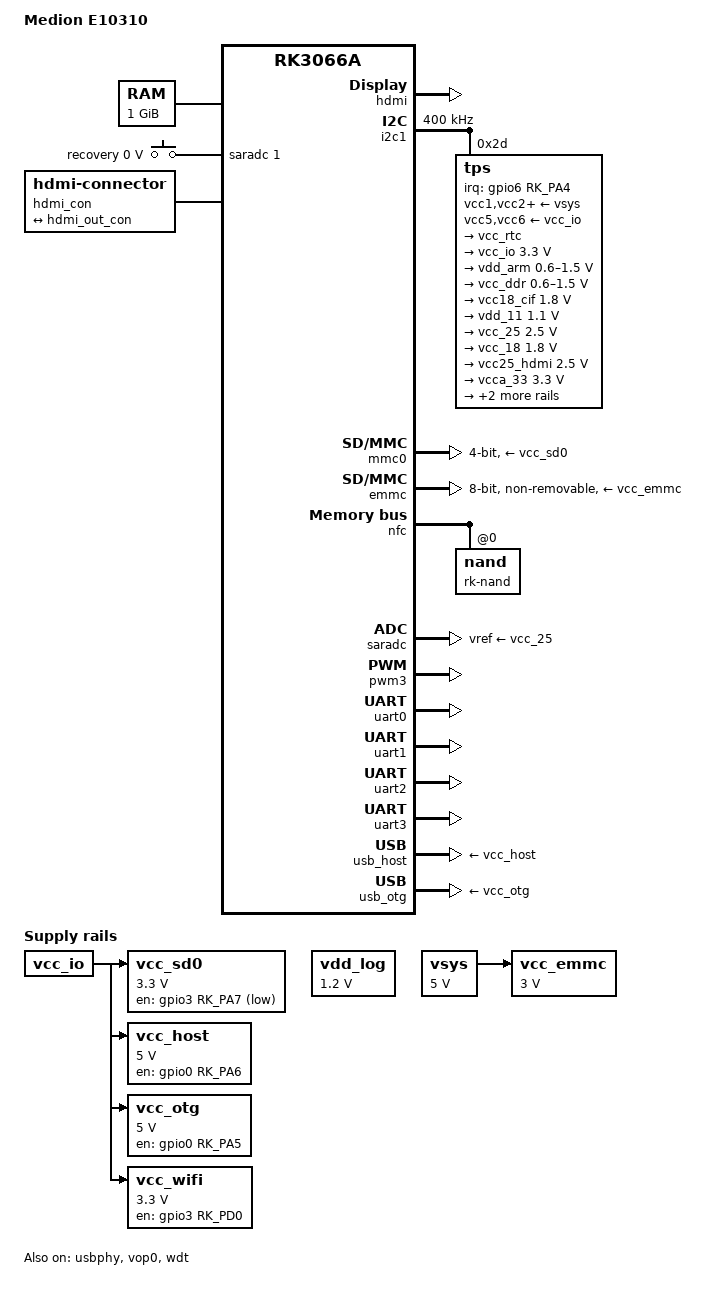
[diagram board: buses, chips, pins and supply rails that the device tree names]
// SPDX-License-Identifier: (GPL-2.0+ OR MIT)
/*
 * Copyright (c) 2014 Romain Perier <romain.perier@gmail.com>
 */

/dts-v1/;
#include "rk3066a.dtsi"

/ {
	model = "Medion E10310";
	compatible = "Medion,E10310", "rockchip,rk3066a";

	aliases {
		mmc0 = &mmc0;
		emmc = &emmc;
	};
	
	chosen {
		stdout-path = "serial2:115200n8";
	};

	memory@60000000 {
		reg = <0x60000000 0x40000000>;
		device_type = "memory";
	};
	
	adc-keys {
		compatible = "adc-keys";
		io-channels = <&saradc 1>;
		io-channel-names = "buttons";
		keyup-threshold-microvolt = <2500000>;
		poll-interval = <100>;

		recovery {
			label = "recovery";
			press-threshold-microvolt = <0>;
		};
	};
	
	hdmi_con {
		compatible = "hdmi-connector";
		type = "c";

		port {
			hdmi_con_in: endpoint {
				remote-endpoint = <&hdmi_out_con>;
			};
		};
	};

	vdd_log: vdd-log {
		compatible = "pwm-regulator";
		pwms = <&pwm3 0 1000>;
		regulator-name = "vdd_log";
		regulator-min-microvolt = <1200000>;
		regulator-max-microvolt = <1200000>;
		regulator-always-on;
		voltage-table = <1000000 100>, <1200000 42>;
		status = "okay";
	};

	vsys: vsys-regulator {
		compatible = "regulator-fixed";
		regulator-name = "vsys";
		regulator-min-microvolt = <5000000>;
		regulator-max-microvolt = <5000000>;
		regulator-boot-on;
	};

	vcc_sd0: sdmmc-regulator {
		compatible = "regulator-fixed";
		regulator-name = "sdmmc-supply";
		regulator-min-microvolt = <3300000>;
		regulator-max-microvolt = <3300000>;
		gpio = <&gpio3 RK_PA7 GPIO_ACTIVE_LOW>;
		pinctrl-0 = <&sdmmc_pwr>;
		startup-delay-us = <100000>;
		vin-supply = <&vcc_io>;
	};

	vcc_emmc: emmc-regulator {
		compatible = "regulator-fixed";
		regulator-name = "emmc_vccq";
		regulator-min-microvolt = <3000000>;
		regulator-max-microvolt = <3000000>;
		vin-supply = <&vsys>;
	};
	
	vcc_host: usb-host-regulator {
		compatible = "regulator-fixed";
		enable-active-high;
		gpio = <&gpio0 RK_PA6 GPIO_ACTIVE_HIGH>;
		pinctrl-0 = <&host_drv>;
		pinctrl-names = "default";
		regulator-always-on;
		regulator-name = "host-pwr";
		regulator-min-microvolt = <5000000>;
		regulator-max-microvolt = <5000000>;
		startup-delay-us = <100000>;
		vin-supply = <&vcc_io>;
	};

	vcc_otg: usb-otg-regulator {
		compatible = "regulator-fixed";
		enable-active-high;
		gpio = <&gpio0 RK_PA5 GPIO_ACTIVE_HIGH>;
		pinctrl-0 = <&otg_drv>;
		pinctrl-names = "default";
		regulator-always-on;
		regulator-name = "vcc_otg";
		regulator-min-microvolt = <5000000>;
		regulator-max-microvolt = <5000000>;
		startup-delay-us = <100000>;
		vin-supply = <&vcc_io>;
	};

	vcc_wifi: sdio-regulator {
		compatible = "regulator-fixed";
		enable-active-high;
		gpio = <&gpio3 RK_PD0 GPIO_ACTIVE_HIGH>;
		pinctrl-0 = <&wifi_pwr>;
		pinctrl-names = "default";
		regulator-name = "vcc_wifi";
		regulator-min-microvolt = <3300000>;
		regulator-max-microvolt = <3300000>;
		startup-delay-us = <100000>;
		vin-supply = <&vcc_io>;
	};
};

&hdmi {
	status = "okay";
};

&hdmi_in_vop1 {
	status = "disabled";
};

&hdmi_out {
	hdmi_out_con: endpoint {
		remote-endpoint = <&hdmi_con_in>;
	};
};

&cpu0 {
	cpu-supply = <&vdd_arm>;
};

&cpu1 {
	cpu-supply = <&vdd_arm>;
};

&i2c1 {
	status = "okay";
	clock-frequency = <400000>;

	tps: tps@2d {
		reg = <0x2d>;

		interrupt-parent = <&gpio6>;
		interrupts = <RK_PA4 IRQ_TYPE_LEVEL_LOW>;

		vcc1-supply = <&vsys>;
		vcc2-supply = <&vsys>;
		vcc3-supply = <&vsys>;
		vcc4-supply = <&vsys>;
		vcc5-supply = <&vcc_io>;
		vcc6-supply = <&vcc_io>;
		vcc7-supply = <&vsys>;
		vccio-supply = <&vsys>;

		regulators {
			vcc_rtc: regulator@0 {
				regulator-name = "vcc_rtc";
				regulator-always-on;
			};

			vcc_io: regulator@1 {
				regulator-name = "vcc_io";
				regulator-min-microvolt = <3300000>;
				regulator-max-microvolt = <3300000>;
				regulator-always-on;
			};

			vdd_arm: regulator@2 {
				regulator-name = "vdd_arm";
				regulator-min-microvolt = <600000>;
				regulator-max-microvolt = <1500000>;
				regulator-boot-on;
				regulator-always-on;
			};

			vcc_ddr: regulator@3 {
				regulator-name = "vcc_ddr";
				regulator-min-microvolt = <600000>;
				regulator-max-microvolt = <1500000>;
				regulator-boot-on;
				regulator-always-on;
			};

			vcc18_cif: regulator@5 {
				regulator-name = "vcc18_cif";
				regulator-min-microvolt = <1800000>;
				regulator-max-microvolt = <1800000>;
				regulator-always-on;
			};

			vdd_11: regulator@6 {
				regulator-name = "vdd_11";
				regulator-min-microvolt = <1100000>;
				regulator-max-microvolt = <1100000>;
				regulator-always-on;
			};

			vcc_25: regulator@7 {
				regulator-name = "vcc_25";
				regulator-min-microvolt = <2500000>;
				regulator-max-microvolt = <2500000>;
				regulator-always-on;
			};

			vcc_18: regulator@8 {
				regulator-name = "vcc_18";
				regulator-min-microvolt = <1800000>;
				regulator-max-microvolt = <1800000>;
				regulator-always-on;
			};

			vcc25_hdmi: regulator@9 {
				regulator-name = "vcc25_hdmi";
				regulator-min-microvolt = <2500000>;
				regulator-max-microvolt = <2500000>;
				regulator-always-on;
			};

			vcca_33: regulator@10 {
				regulator-name = "vcca_33";
				regulator-min-microvolt = <3300000>;
				regulator-max-microvolt = <3300000>;
				regulator-always-on;
			};

			vcc_rmii: regulator@11 {
				regulator-name = "vcc_rmii";
				regulator-min-microvolt = <3300000>;
				regulator-max-microvolt = <3300000>;
			};

			vcc28_cif: regulator@12 {
				regulator-name = "vcc28_cif";
				regulator-min-microvolt = <2800000>;
				regulator-max-microvolt = <2800000>;
				regulator-always-on;
			};
		};
	};
};

/* must be included after &tps gets defined */
#include "tps65910.dtsi"

&mmc0 {
	status = "okay";
	bus-width = <4>;
	pinctrl-names = "default";
	pinctrl-0 = <&sd0_clk>, <&sd0_cmd>, <&sd0_cd>, <&sd0_bus4>;
	vmmc-supply = <&vcc_sd0>;
};

&emmc {
	status = "okay";
	bus-width = <8>;
	cap-mmc-highspeed;
	non-removable;
	pinctrl-names = "default";
	pinctrl-0 = <&emmc_clk>, <&emmc_cmd>, <&emmc_rst>;
	vmmc-supply = <&vcc_emmc>;
	vqmmc-supply = <&vcc_emmc>;
};

&pinctrl {
	usb-host {
		host_drv: host-drv {
			rockchip,pins = <0 RK_PA6 RK_FUNC_GPIO &pcfg_pull_default>;
		};
	};

	usb-otg {
		otg_drv: otg-drv {
			rockchip,pins = <0 RK_PA5 RK_FUNC_GPIO &pcfg_pull_default>;
		};
	};

	sdmmc {
		sdmmc_pwr: sdmmc-pwr {
			rockchip,pins = <3 RK_PA7 RK_FUNC_GPIO &pcfg_pull_default>;
		};
	};

	sdio {
		wifi_pwr: wifi-pwr {
			rockchip,pins = <3 RK_PD0 RK_FUNC_GPIO &pcfg_pull_none>;
		};
	};
};

&nfc {
	#address-cells = <1>;
	#size-cells = <0>;
	status = "okay";

	nand@0 {
		reg = <0>;
		label = "rk-nand";
		nand-bus-width = <8>;
		nand-ecc-mode = "hw";
		nand-ecc-step-size = <1024>;
		nand-ecc-strength = <40>;
		nand-is-boot-medium;
		rockchip,boot-blks = <8>;
		rockchip,boot-ecc-strength = <24>;
	};
};

&saradc {
	vref-supply = <&vcc_25>;
	status = "okay";
};

&pwm3 {
	status = "okay";
};

&uart0 {
	status = "okay";
};

&uart1 {
	status = "okay";
};

&uart2 {
	status = "okay";
};

&uart3 {
	status = "okay";
};

&usbphy {
	status = "okay";
};

&usb_host {
	vbus-supply = <&vcc_host>;
	status = "okay";
};

&usb_otg {
	vbus-supply = <&vcc_otg>;
	status = "okay";
};

&vop0 {
	status = "okay";
};

&wdt {
	status = "okay";
};
